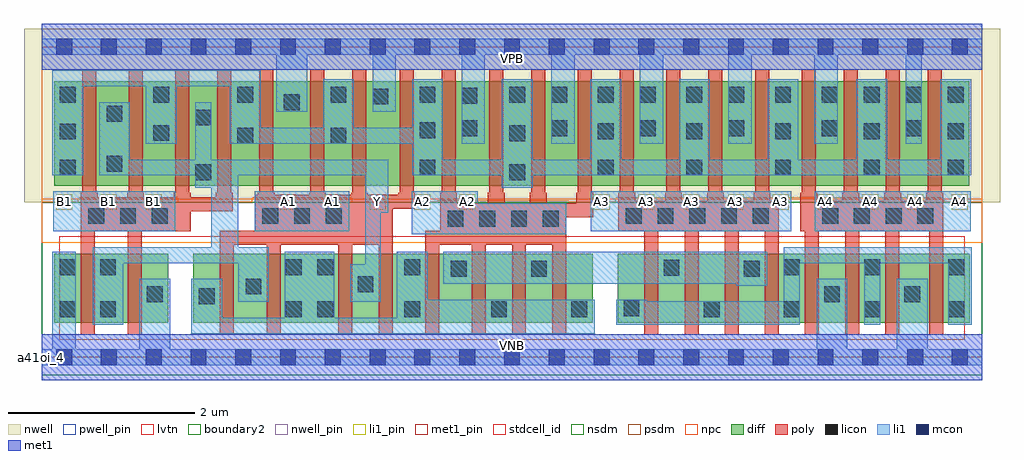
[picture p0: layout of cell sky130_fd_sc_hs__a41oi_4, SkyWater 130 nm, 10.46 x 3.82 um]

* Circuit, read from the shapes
.subckt sky130_fd_sc_hs__a41oi_4 A1 A2 A3 A4 B1 VGND VNB VPB VPWR Y
XM1 Y B1 VGND VNB sky130_fd_pr__nfet_01v8_lvt w=0.74 l=0.15 m=2
XM2 Y A1 n1 VNB sky130_fd_pr__nfet_01v8_lvt w=0.74 l=0.15 m=4
XM3 n2 A2 n1 VNB sky130_fd_pr__nfet_01v8_lvt w=0.74 l=0.15 m=4
XM4 n2 A3 n3 VNB sky130_fd_pr__nfet_01v8_lvt w=0.74 l=0.15 m=4
XM5 VGND A4 n3 VNB sky130_fd_pr__nfet_01v8_lvt w=0.74 l=0.15 m=4
XM6 Y B1 n4 VPB sky130_fd_pr__pfet_01v8 w=1.12 l=0.15 m=4
XM7 VPWR A1 n4 VPB sky130_fd_pr__pfet_01v8 w=1.12 l=0.15 m=4
XM8 VPWR A2 n4 VPB sky130_fd_pr__pfet_01v8 w=1.12 l=0.15 m=4
XM9 VPWR A3 n4 VPB sky130_fd_pr__pfet_01v8 w=1.12 l=0.15 m=4
XM10 VPWR A4 n4 VPB sky130_fd_pr__pfet_01v8 w=1.12 l=0.15 m=4
.ends

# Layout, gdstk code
import gdstk
lib = gdstk.Library(unit=1e-6, precision=1e-09)
def R(c, l, rs):  # rectangles x0, y0, x1, y1
    for r in rs: c.add(gdstk.rectangle(r[:2], r[2:], *l))
def A(c, l, x, y, w, h, nx, ny, dx, dy):  # array of equal rectangles
    R(c, l, [(x+i*dx, y+j*dy, x+i*dx+w, y+j*dy+h) for i in range(nx) for j in range(ny)])
def P(c, l, *ps):  # polygons
    for p in ps: c.add(gdstk.Polygon(p, *l))
nwell_pin = (64, 16)
nwell = (64, 20)
diff = (65, 20)
poly = (66, 20)
licon = (66, 44)
li1_pin = (67, 16)
li1 = (67, 20)
mcon = (67, 44)
met1_pin = (68, 16)
met1 = (68, 20)
stdcell_id = (81, 4)
nsdm = (93, 44)
psdm = (94, 20)
npc = (95, 20)
pwell_pin = (122, 16)
lvtn = (125, 44)
boundary2 = (236, 0)

sky130_fd_sc_hs__a41oi_4 = lib.new_cell('sky130_fd_sc_hs__a41oi_4')
R(sky130_fd_sc_hs__a41oi_4, nwell_pin, [(0,3.085,10.08,3.33)])
R(sky130_fd_sc_hs__a41oi_4, nwell, [(-0.19,1.66,10.27,3.52)])
R(sky130_fd_sc_hs__a41oi_4, diff, [(0.135,0.37,1.355,1.11), (1.625,0.37,5.905,1.11), (6.175,0.37,9.945,1.11), (0.135,1.84,9.94,2.96)])
P(sky130_fd_sc_hs__a41oi_4, poly, [(2.045,1.765),(2.03,1.765),(2.03,3.09),(1.88,3.09),(1.88,1.765),(1.865,1.765),(1.865,1.715),(1.595,1.715),(1.595,1.765),(1.58,1.765),(1.58,3.09),(1.43,3.09),(1.43,1.765),(1.415,1.765),(1.415,1.715),(1.095,1.715),(1.095,1.765),(1.08,1.765),(1.08,3.09),(0.93,3.09),(0.93,1.765),(0.915,1.765),(0.915,1.715),(0.6,1.715),(0.6,1.765),(0.585,1.765),(0.585,3.09),(0.435,3.09),(0.435,1.765),(0.42,1.765),(0.42,0.24),(0.57,0.24),(0.57,1.35),(0.92,1.35),(0.92,0.24),(1.07,0.24),(1.07,1.35),(1.595,1.35),(1.595,1.565),(2.045,1.565)],
  [(4,1.765),(3.985,1.765),(3.985,3.09),(3.835,3.09),(3.835,1.765),(3.82,1.765),(3.82,1.745),(3.495,1.745),(3.495,1.765),(3.48,1.765),(3.48,3.09),(3.33,3.09),(3.33,1.765),(3.315,1.765),(3.315,1.745),(3.045,1.745),(3.045,1.765),(3.03,1.765),(3.03,3.09),(2.88,3.09),(2.88,1.765),(2.865,1.765),(2.865,1.745),(2.495,1.745),(2.495,1.765),(2.48,1.765),(2.48,3.09),(2.33,3.09),(2.33,1.765),(2.315,1.765),(2.315,1.745),(2.285,1.745),(2.285,1.355),(1.91,1.355),(1.91,0.24),(2.06,0.24),(2.06,1.205),(2.41,1.205),(2.41,0.24),(2.56,0.24),(2.56,1.205),(3.18,1.205),(3.18,0.24),(3.33,0.24),(3.33,1.205),(3.61,1.205),(3.61,0.24),(3.76,0.24),(3.76,1.595),(4,1.595)],
  [(5.91,1.765),(5.895,1.765),(5.895,3.09),(5.745,3.09),(5.745,1.765),(5.73,1.765),(5.73,1.65),(5.41,1.65),(5.41,1.765),(5.395,1.765),(5.395,3.09),(5.245,3.09),(5.245,1.765),(5.23,1.765),(5.23,1.65),(4.96,1.65),(4.96,1.765),(4.945,1.765),(4.945,3.09),(4.795,3.09),(4.795,1.765),(4.78,1.765),(4.78,1.65),(4.45,1.65),(4.45,1.765),(4.435,1.765),(4.435,3.09),(4.285,3.09),(4.285,1.765),(4.27,1.765),(4.27,1.355),(4.11,1.355),(4.11,0.24),(4.26,0.24),(4.26,1.205),(4.61,1.205),(4.61,0.24),(4.76,0.24),(4.76,1.205),(5.04,1.205),(5.04,0.24),(5.19,0.24),(5.19,1.205),(5.47,1.205),(5.47,0.24),(5.62,0.24),(5.62,1.5),(5.91,1.5)],
  [(7.9,1.68),(7.81,1.68),(7.81,1.765),(7.795,1.765),(7.795,3.09),(7.645,3.09),(7.645,1.765),(7.63,1.765),(7.63,1.68),(7.31,1.68),(7.31,1.765),(7.295,1.765),(7.295,3.09),(7.145,3.09),(7.145,1.765),(7.13,1.765),(7.13,1.68),(6.86,1.68),(6.86,1.765),(6.845,1.765),(6.845,3.09),(6.695,3.09),(6.695,1.765),(6.68,1.765),(6.68,1.68),(6.36,1.68),(6.36,1.765),(6.345,1.765),(6.345,3.09),(6.195,3.09),(6.195,1.765),(6.18,1.765),(6.18,1.35),(6.46,1.35),(6.46,0.24),(6.61,0.24),(6.61,1.35),(6.89,1.35),(6.89,0.24),(7.04,0.24),(7.04,1.35),(7.32,1.35),(7.32,0.24),(7.47,0.24),(7.47,1.35),(7.75,1.35),(7.75,0.24),(7.9,0.24)],
  [(9.66,1.765),(9.645,1.765),(9.645,3.09),(9.495,3.09),(9.495,1.765),(9.48,1.765),(9.48,1.68),(9.21,1.68),(9.21,1.765),(9.195,1.765),(9.195,3.09),(9.045,3.09),(9.045,1.765),(9.03,1.765),(9.03,1.68),(8.76,1.68),(8.76,1.765),(8.745,1.765),(8.745,3.09),(8.595,3.09),(8.595,1.765),(8.58,1.765),(8.58,1.68),(8.31,1.68),(8.31,1.765),(8.295,1.765),(8.295,3.09),(8.145,3.09),(8.145,1.765),(8.13,1.765),(8.13,1.35),(8.18,1.35),(8.18,0.24),(8.33,0.24),(8.33,1.35),(8.61,1.35),(8.61,0.24),(8.76,0.24),(8.76,1.35),(9.04,1.35),(9.04,0.24),(9.19,0.24),(9.19,1.35),(9.51,1.35),(9.51,0.24),(9.66,0.24)])
A(sky130_fd_sc_hs__a41oi_4, licon, 2.955, 0.43, 0.17, 0.17, 3, 1, 0.93, 0)
A(sky130_fd_sc_hs__a41oi_4, licon, 7.095, 0.43, 0.17, 0.17, 3, 1, 0.86, 0)
A(sky130_fd_sc_hs__a41oi_4, licon, 4.35, 1.4, 0.17, 0.17, 4, 1, 0.34, 0)
A(sky130_fd_sc_hs__a41oi_4, licon, 0.5, 1.43, 0.17, 0.17, 3, 1, 0.34, 0)
A(sky130_fd_sc_hs__a41oi_4, licon, 2.365, 1.43, 0.17, 0.17, 3, 1, 0.34, 0)
A(sky130_fd_sc_hs__a41oi_4, licon, 6.26, 1.43, 0.17, 0.17, 5, 1, 0.34, 0)
A(sky130_fd_sc_hs__a41oi_4, licon, 8.365, 1.43, 0.17, 0.17, 4, 1, 0.34, 0)
A(sky130_fd_sc_hs__a41oi_4, licon, 5.01, 1.9, 0.17, 0.17, 1, 3, 0, 0.415)
A(sky130_fd_sc_hs__a41oi_4, licon, 5.96, 1.95, 0.17, 0.17, 4, 2, 0.95, 0.39)
A(sky130_fd_sc_hs__a41oi_4, licon, 5.46, 2.37, 0.17, 0.17, 3, 1, 0.95, 0)
A(sky130_fd_sc_hs__a41oi_4, licon, 7.36, 2.73, 0.17, 0.17, 3, 1, 0.5, 0)
A(sky130_fd_sc_hs__a41oi_4, licon, 8.81, 2.73, 0.17, 0.17, 3, 1, 0.45, 0)
R(sky130_fd_sc_hs__a41oi_4, licon, [(0.195,0.43,0.365,0.6), (0.625,0.43,0.795,0.6), (2.615,0.43,2.785,0.6), (5.675,0.43,5.845,0.6), (9.715,0.43,9.885,0.6), (6.235,0.44,6.405,0.61), (1.685,0.57,1.855,0.74), (1.125,0.59,1.295,0.76), (8.385,0.59,8.555,0.76), (9.245,0.59,9.415,0.76), (2.185,0.675,2.355,0.845), (3.385,0.7,3.555,0.87), (4.385,0.865,4.555,1.035), (5.245,0.865,5.415,1.035), (7.525,0.865,7.695,1.035), (6.665,0.875,6.835,1.045), (0.195,0.88,0.365,1.05), (0.625,0.88,0.795,1.05), (2.615,0.88,2.785,1.05), (2.955,0.88,3.125,1.05), (3.885,0.88,4.055,1.05), (7.955,0.88,8.125,1.05), (8.815,0.88,8.985,1.05), (9.715,0.88,9.885,1.05), (1.645,1.9,1.815,2.07), (0.195,1.95,0.365,2.12), (4.05,1.95,4.22,2.12), (9.71,1.95,9.88,2.12), (0.695,1.99,0.865,2.16), (2.095,2.29,2.265,2.46), (3.095,2.29,3.265,2.46), (1.195,2.32,1.365,2.49), (0.195,2.335,0.365,2.505), (9.71,2.34,9.88,2.51), (4.05,2.35,4.22,2.52), (4.5,2.37,4.67,2.54), (8.36,2.37,8.53,2.54), (9.26,2.37,9.43,2.54), (1.645,2.485,1.815,2.655), (0.695,2.525,0.865,2.695), (2.595,2.65,2.765,2.82), (3.545,2.71,3.715,2.88), (4.5,2.72,4.67,2.89), (0.195,2.73,0.365,2.9), (1.195,2.73,1.365,2.9), (2.095,2.73,2.265,2.9), (3.095,2.73,3.265,2.9), (4.05,2.73,4.22,2.9), (5.46,2.73,5.63,2.9), (5.96,2.73,6.13,2.9), (6.41,2.73,6.58,2.9), (6.91,2.73,7.08,2.9)])
A(sky130_fd_sc_hs__a41oi_4, li1_pin, 0.155, 1.58, 0.17, 0.17, 3, 1, 0.48, 0)
A(sky130_fd_sc_hs__a41oi_4, li1_pin, 2.555, 1.58, 0.17, 0.17, 5, 1, 0.48, 0)
A(sky130_fd_sc_hs__a41oi_4, li1_pin, 5.915, 1.58, 0.17, 0.17, 9, 1, 0.48, 0)
R(sky130_fd_sc_hs__a41oi_4, li1, [(0.125,1.35,1.43,1.78), (2.285,1.35,3.295,1.78), (5.885,1.35,8.035,1.78), (8.285,1.35,9.955,1.78)])
P(sky130_fd_sc_hs__a41oi_4, li1, [(0,-0.085),(0,0.085),(0.115,0.085),(0.115,1.13),(0.365,1.13),(0.365,0.085),(1.045,0.085),(1.045,0.84),(1.375,0.84),(1.375,0.085),(8.305,0.085),(8.305,0.84),(8.635,0.84),(8.635,0.085),(9.165,0.085),(9.165,0.84),(9.495,0.84),(9.495,0.085),(10.08,0.085),(10.08,-0.085)],
  [(0,3.245),(0,3.415),(10.08,3.415),(10.08,3.245),(9.43,3.245),(9.43,2.29),(9.26,2.29),(9.26,3.245),(8.53,3.245),(8.53,2.29),(8.28,2.29),(8.28,3.245),(7.61,3.245),(7.61,2.29),(7.36,2.29),(7.36,3.245),(6.66,3.245),(6.66,2.29),(6.41,2.29),(6.41,3.245),(5.71,3.245),(5.71,2.29),(5.46,2.29),(5.46,3.245),(4.75,3.245),(4.75,2.29),(4.5,2.29),(4.5,3.245),(3.795,3.245),(3.795,2.63),(3.545,2.63),(3.545,3.245),(2.845,3.245),(2.845,2.63),(2.515,2.63),(2.515,3.245)],
  [(3.465,1),(3.465,1.95),(2.105,1.95),(2.105,1.18),(2.435,1.18),(2.435,0.595),(2.105,0.595),(2.105,1.01),(0.875,1.01),(0.875,0.35),(0.545,0.35),(0.545,1.18),(1.815,1.18),(1.815,1.82),(1.645,1.82),(1.645,1.95),(0.615,1.95),(0.615,2.735),(0.945,2.735),(0.945,2.12),(1.645,2.12),(1.645,2.735),(1.815,2.735),(1.815,2.12),(3.715,2.12),(3.715,1.55),(3.635,1.55),(3.635,0.595),(3.305,0.595),(3.305,1)],
  [(3.965,1.32),(3.965,1.78),(4.675,1.78),(4.675,1.65),(5.62,1.65),(5.62,1.32)],
  [(9.96,2.98),(9.63,2.98),(9.63,2.12),(9.06,2.12),(9.06,2.98),(8.73,2.98),(8.73,2.12),(8.11,2.12),(8.11,2.98),(7.78,2.98),(7.78,2.12),(7.16,2.12),(7.16,2.98),(6.83,2.98),(6.83,2.12),(6.21,2.12),(6.21,2.98),(5.88,2.98),(5.88,2.12),(5.26,2.12),(5.26,2.98),(4.93,2.98),(4.93,2.12),(4.3,2.12),(4.3,2.98),(3.97,2.98),(3.97,2.46),(3.345,2.46),(3.345,2.98),(3.015,2.98),(3.015,2.46),(2.345,2.46),(2.345,3.075),(0.115,3.075),(0.115,1.95),(0.445,1.95),(0.445,2.905),(1.115,2.905),(1.115,2.29),(1.445,2.29),(1.445,2.905),(2.015,2.905),(2.015,2.29),(3.97,2.29),(3.97,1.95),(4.93,1.95),(4.93,1.82),(5.26,1.82),(5.26,1.95),(9.96,1.95)],
  [(9.715,1.01),(8.985,1.01),(8.985,0.35),(8.815,0.35),(8.815,1.01),(8.125,1.01),(8.125,0.35),(6.155,0.35),(6.155,0.62),(6.485,0.62),(6.485,0.6),(7.955,0.6),(7.955,1.18),(9.965,1.18),(9.965,0.35),(9.715,0.35)],
  [(7.775,1.13),(7.775,0.77),(7.445,0.77),(7.445,0.79),(4.305,0.79),(4.305,1.13)],
  [(1.935,0.425),(2.605,0.425),(2.605,1.13),(3.135,1.13),(3.135,0.425),(3.805,0.425),(3.805,1.13),(4.135,1.13),(4.135,0.62),(5.925,0.62),(5.925,0.255),(1.605,0.255),(1.605,0.84),(1.935,0.84)])
A(sky130_fd_sc_hs__a41oi_4, mcon, 0.155, -0.085, 0.17, 0.17, 21, 2, 0.48, 3.33)
R(sky130_fd_sc_hs__a41oi_4, met1_pin, [(0,0,10.08,0.245), (0,3.085,10.08,3.33)])
R(sky130_fd_sc_hs__a41oi_4, met1, [(0,-0.245,10.08,0.245), (0,3.085,10.08,3.575)])
R(sky130_fd_sc_hs__a41oi_4, stdcell_id, [(0,0,10.08,3.33)])
R(sky130_fd_sc_hs__a41oi_4, nsdm, [(0,-0.19,10.08,1.66)])
P(sky130_fd_sc_hs__a41oi_4, psdm, [(10.08,3.52),(0,3.52),(0,1.66),(0.39,1.66),(0.39,1.71),(1.46,1.71),(1.46,1.66),(2.255,1.66),(2.255,1.71),(3.325,1.71),(3.325,1.66),(4.24,1.66),(4.24,1.68),(5.65,1.68),(5.65,1.66),(6.15,1.66),(6.15,1.71),(9.665,1.71),(9.665,1.66),(10.08,1.66)])
R(sky130_fd_sc_hs__a41oi_4, npc, [(0,1.23,10.08,1.7)])
R(sky130_fd_sc_hs__a41oi_4, pwell_pin, [(0,0,10.08,0.245)])
R(sky130_fd_sc_hs__a41oi_4, lvtn, [(0.19,0.19,9.89,1.3)])
R(sky130_fd_sc_hs__a41oi_4, boundary2, [(0,0,10.08,3.33)])
sky130_fd_sc_hs__a41oi_4.add(gdstk.Label('a41oi_4', (0,0), layer=83, texttype=44))
sky130_fd_sc_hs__a41oi_4.add(gdstk.Label('VNB', (5.04,0.123), layer=64, texttype=59))
sky130_fd_sc_hs__a41oi_4.add(gdstk.Label('VPB', (5.04,3.208), layer=64, texttype=5))
sky130_fd_sc_hs__a41oi_4.add(gdstk.Label('VPWR', (5.04,3.208), layer=68, texttype=5))
sky130_fd_sc_hs__a41oi_4.add(gdstk.Label('VGND', (5.04,0.123), layer=68, texttype=5))
sky130_fd_sc_hs__a41oi_4.add(gdstk.Label('Y', (3.6,1.665), layer=67, texttype=5))
sky130_fd_sc_hs__a41oi_4.add(gdstk.Label('A1', (2.64,1.665), layer=67, texttype=5))
sky130_fd_sc_hs__a41oi_4.add(gdstk.Label('A1', (3.12,1.665), layer=67, texttype=5))
sky130_fd_sc_hs__a41oi_4.add(gdstk.Label('A2', (4.08,1.665), layer=67, texttype=5))
sky130_fd_sc_hs__a41oi_4.add(gdstk.Label('A2', (4.56,1.665), layer=67, texttype=5))
sky130_fd_sc_hs__a41oi_4.add(gdstk.Label('A3', (6,1.665), layer=67, texttype=5))
sky130_fd_sc_hs__a41oi_4.add(gdstk.Label('A3', (6.48,1.665), layer=67, texttype=5))
sky130_fd_sc_hs__a41oi_4.add(gdstk.Label('A3', (6.96,1.665), layer=67, texttype=5))
sky130_fd_sc_hs__a41oi_4.add(gdstk.Label('A3', (7.44,1.665), layer=67, texttype=5))
sky130_fd_sc_hs__a41oi_4.add(gdstk.Label('A3', (7.92,1.665), layer=67, texttype=5))
sky130_fd_sc_hs__a41oi_4.add(gdstk.Label('A4', (8.4,1.665), layer=67, texttype=5))
sky130_fd_sc_hs__a41oi_4.add(gdstk.Label('A4', (8.88,1.665), layer=67, texttype=5))
sky130_fd_sc_hs__a41oi_4.add(gdstk.Label('A4', (9.36,1.665), layer=67, texttype=5))
sky130_fd_sc_hs__a41oi_4.add(gdstk.Label('A4', (9.84,1.665), layer=67, texttype=5))
sky130_fd_sc_hs__a41oi_4.add(gdstk.Label('B1', (0.24,1.665), layer=67, texttype=5))
sky130_fd_sc_hs__a41oi_4.add(gdstk.Label('B1', (0.72,1.665), layer=67, texttype=5))
sky130_fd_sc_hs__a41oi_4.add(gdstk.Label('B1', (1.2,1.665), layer=67, texttype=5))

lib.write_gds('sky130_fd_sc_hs__a41oi_4.gds')
